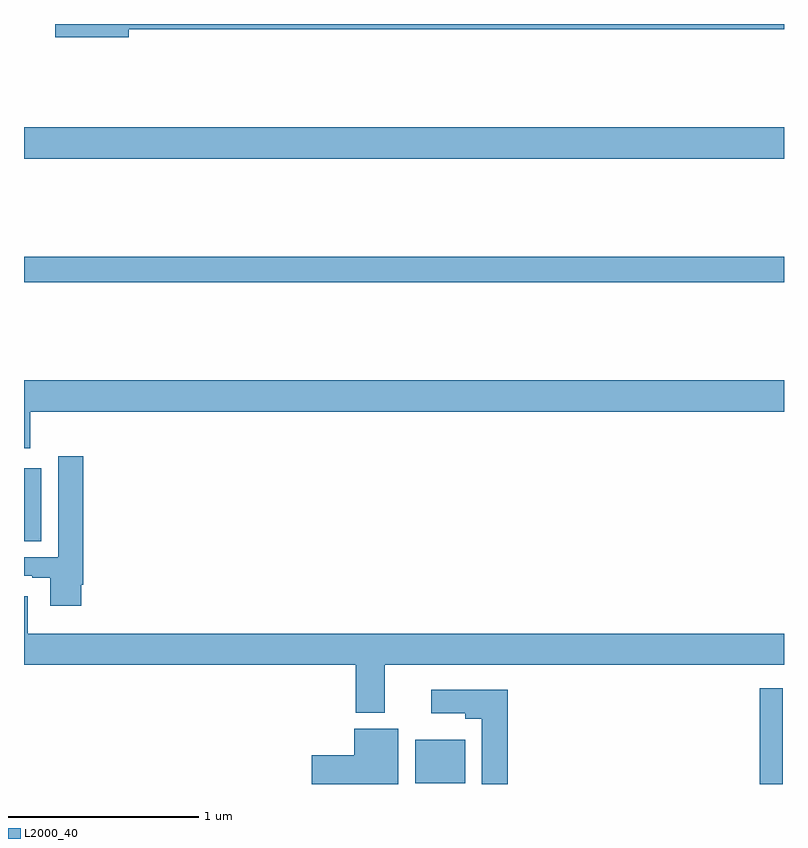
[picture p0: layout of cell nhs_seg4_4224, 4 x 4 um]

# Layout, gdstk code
import gdstk
lib = gdstk.Library(unit=1e-6, precision=1e-09)
def R(c, l, rs):  # rectangles x0, y0, x1, y1
    for r in rs: c.add(gdstk.rectangle(r[:2], r[2:], *l))
def P(c, l, *ps):  # polygons
    for p in ps: c.add(gdstk.Polygon(p, *l))
L2000_40 = (2000, 40)

nhs_seg4_4224 = lib.new_cell('nhs_seg4_4224')
R(nhs_seg4_4224, L2000_40, [(340.872,754.9,340.993,755.404), (339.059,754.904,339.322,755.134), (337,756.178,337.09,756.562), (337,757.54,341,757.676), (337,758.192,341,758.356)])
P(nhs_seg4_4224, L2000_40, [(337.552,758.872),(341,758.872),(341,758.9),(337.164,758.9),(337.164,758.83),(337.552,758.83)],
  [(337.034,756.86),(341,756.86),(341,757.024),(337,757.024),(337,756.666),(337.034,756.666)],
  [(337.3,755.95),(337.313,755.95),(337.313,756.625),(337.181,756.625),(337.181,756.093),(337,756.093),(337,755.997),(337.043,755.997),(337.043,755.985),(337.139,755.985),(337.139,755.838),(337.3,755.838)],
  [(338.899,755.528),(341,755.528),(341,755.692),(337.021,755.692),(337.021,755.887),(337,755.887),(337,755.528),(338.747,755.528),(338.747,755.276),(338.899,755.276)],
  [(339.545,755.395),(339.144,755.395),(339.144,755.273),(339.323,755.273),(339.323,755.243),(339.41,755.243),(339.41,754.9),(339.545,754.9)],
  [(338.971,755.191),(338.738,755.191),(338.738,755.052),(338.514,755.052),(338.514,754.9),(338.971,754.9)])

lib.write_gds('nhs_seg4_4224.gds')
